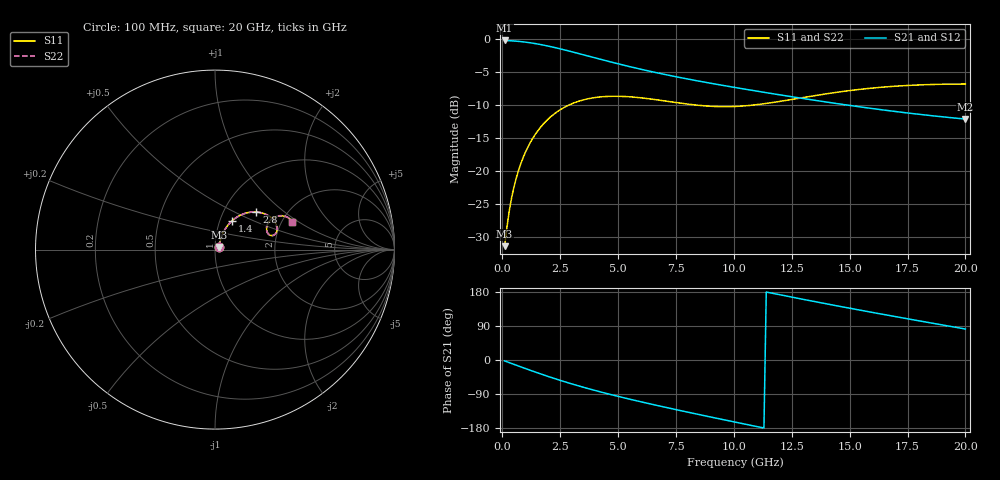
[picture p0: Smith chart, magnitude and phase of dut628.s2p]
! Touchstone file exported from HFSS 2024.1.0
!  File:  C:/UserFiles/LocalFiles/RDL_TSV_Batchsim/temp_RDL_TSV_628_1779803814.aedt
!  Generated:  10:09:39 PM May 26, 2026
!  Design:  RDL_TSV
!  Project:  temp_RDL_TSV_628_1779803814
!  Setup:  Setup1
!  Solution:  Sweep
! Variables:
!  dtsv = 6um
!  hbump = 3um
!  htsv = 55.77um
!  ldown = 655.88um
!  lrdl = 632.36um
!  p = 40
!  p1 = 58.76um
!  rhole = 10um
!  subl = 4497.08um
!  t = 450um
!  tdown = 3.89um
!  trdl = 4.97um
!  viad = 10um
!  wdown = 23.83um
!  wrdl = 13.1um
!  xbump = 18um
# GHz S MA R 50.000000
! Terminal data exported
! Port[1] = TM1_1_T1
! Port[2] = TM1_4_T1
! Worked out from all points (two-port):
!   200 points, 100 MHz to 20 GHz, reference 50 ohm
!   highest |S21| = -0.20 dB at 100 MHz (marker M1); lowest = -12.1 dB at 20 GHz (marker M2)
!   |S21| within 3 dB of the highest: start of sweep to 4.393 GHz
!   lowest |S11| = -31.4 dB at 100 MHz (marker M3), VSWR 1.06, Z = 52.3 + j1.5 ohm
!   |S11| at or under -10 dB: start of sweep to 2.879 GHz; 8.344 GHz to 10.86 GHz (2.521 GHz wide, 26.2 % of centre)
!   |S22| runs from -31.4 to -6.8 dB; largest |S21 - S12| = 9.7e-15
!   S11 on the Smith chart (normalised r, x): 100 MHz: 1.05, +0.03; 1.4 GHz: 1.14, +0.38; 2.8 GHz: 1.42, +0.66; 20 GHz: 2.28, +0.88
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0.1  0.02679 32.4  0.9775 -2.3  0.9775 -2.3  0.02679 32.4
! Gamma 0 0 0 0
! Port Impedance 50 0 50 0
0.3  0.04949 56.5  0.974 -6.9  0.974 -6.9  0.04949 56.5
0.4  0.0621 60.5  0.9716 -9.2  0.9716 -9.2  0.0621 60.5
0.6  0.08777 63.7  0.9658 -13.7  0.9658 -13.7  0.08777 63.7
0.8  0.1134 64.1  0.9584 -18.2  0.9584 -18.2  0.1134 64.0
1  0.1386 63.1  0.9494 -22.6  0.9494 -22.6  0.1386 63.0
1.4  0.1865 59.3  0.927 -31.3  0.927 -31.3  0.1864 59.3
2.1  0.2582 50.9  0.8769 -45.8  0.8769 -45.8  0.258 50.8
2.8  0.3115 42.3  0.8194 -59.4  0.8194 -59.4  0.3111 42.2
3.5  0.3459 34.5  0.7612 -71.9  0.7612 -71.9  0.3453 34.4
4.3  0.3651 26.9  0.6988 -85.2  0.6988 -85.2  0.3643 26.8
5.1  0.368 20.9  0.6435 -97.5  0.6435 -97.5  0.3669 20.8
5.9  0.3599 16.7  0.5955 -109.1  0.5955 -109.1  0.3586 16.7
6.8  0.3439 14.1  0.5495 -121.6  0.5495 -121.6  0.3425 14.1
8.4  0.3155 15.0  0.4834 -142.8  0.4834 -142.8  0.314 15.1
10.1  0.3086 21.0  0.428 -164.5  0.428 -164.5  0.3074 21.2
11.6  0.3287 26.1  0.3872 176.9  0.3872 176.9  0.3281 26.4
13.4  0.3703 28.4  0.3453 155.2  0.3453 155.2  0.3702 28.7
15  0.407 27.5  0.3139 136.6  0.3139 136.6  0.4071 27.6
16.7  0.4359 24.8  0.2862 117.6  0.2862 117.6  0.4362 25.0
18.3  0.4512 22.1  0.2651 100.1  0.2651 100.1  0.4516 22.2
20  0.4564 19.5  0.2473 81.7  0.2473 81.7  0.4568 19.6
